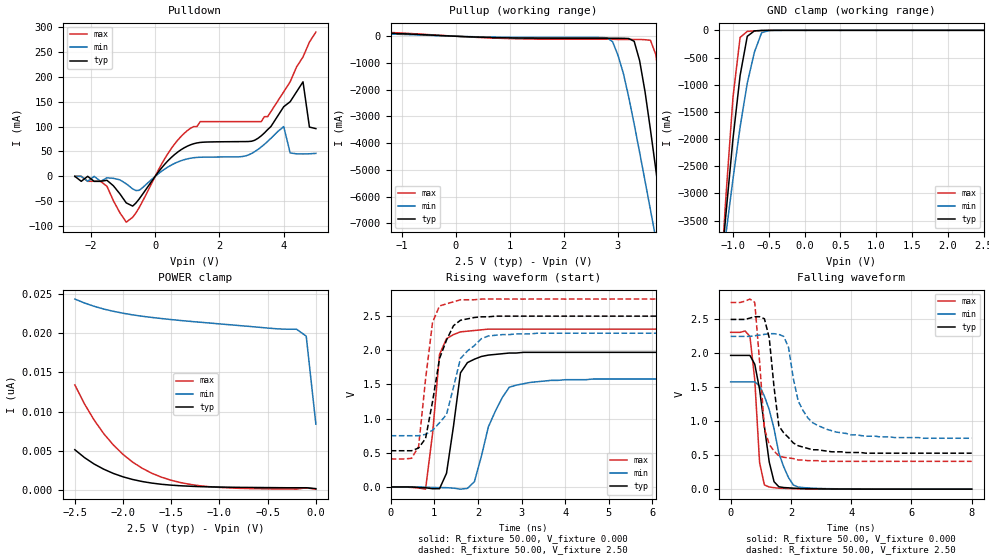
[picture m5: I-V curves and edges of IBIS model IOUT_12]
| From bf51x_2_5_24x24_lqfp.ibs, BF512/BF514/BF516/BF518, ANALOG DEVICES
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|   Model prw0812swcdg_25
[Model]   IOUT_12
Model_type   I/O
Polarity   Non-Inverting
Enable   Active-Low
Vinl =   0.70V
Vinh =   1.70V
Vmeas =   1.20V
Cref =  50.00pF
Rref =   1.00M
Vref =  0.000V
C_comp   4.63pF   4.16pF   5.09pF
[Temperature Range]   25.00   0.12k   -40.00
[Voltage Range]   2.50V   2.25V   2.75V
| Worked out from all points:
|   slope of the pulldown table from 0 to 0.375 V, typ, clamps not added: 12.6 ohm
|   slope of the pullup table from 0 to 0.375 V, typ, clamps not added: 12.7 ohm
|   GND clamp passes 1 mA (typ) near -0.53 V on its own axis
|   rising waveform, R_fixture 50.00, V_fixture 0.000: 20-80 % time 256ps typ, 501ps min, 210ps max; typ from 0 V to 1.97 V
|   rising waveform, R_fixture 50.00, V_fixture 2.50: 20-80 % time 391ps typ, 435ps min, 249ps max; typ from 0.53 V to 2.5 V
|   falling waveform, R_fixture 50.00, V_fixture 0.000: 20-80 % time 369ps typ, 569ps min, 210ps max; typ from 1.97 V to 0 V
|   falling waveform, R_fixture 50.00, V_fixture 2.50: 20-80 % time 302ps typ, 591ps min, 242ps max; typ from 2.5 V to 0.53 V
[Pulldown]
| voltage   I(typ)   I(min)   I(max)
-2.5V     0A         0A         0A
-1.5V     -8mA       -3mA       -20mA
-900mV    -53.4mA    -15mA      -92.2mA
-500mV    -45.67mA   -28.14mA   -63.1mA
900mV     57.24mA    33.39mA    86.24mA
1.4V      68.13mA    38.37mA    110mA
3.3V      81.45mA    59.05mA    110mA
4V        140mA      100mA      170mA
4.2V      150mA      47.04mA    190mA
4.6V      190mA      44.93mA    240mA
4.8V      99.01mA    45.32mA    270mA
5V        95.95mA    46.14mA    290mA
[Pullup]
| voltage   I(typ)   I(min)   I(max)
-2.5V     20.28mA    3.12mA     63.15mA
2.8V      -74.78mA   -59.76mA   -110mA
2.9V      -74.93mA   -200mA     -110mA
3V        -75.48mA   -710mA     -120mA
3.3V      -190mA     -3.29A     -120mA
3.4V      -910mA     -4.34A     -120mA
3.6V      -3.49A     -6.49A     -150mA
3.7V      -4.99A     -7.58A     -690mA
3.8V      -6.53A     -8.67A     -2.24A
4V        -9.65A     -10.87A    -6.38A
4.2V      -12.8A     -13.09A    -10.76A
5V        -25.52A    -21.99A    -28.62A
[GND_clamp]
| voltage   I(typ)   I(min)   I(max)
-2.5V     -25.44A    -19.16A    -34.1A
-1.2V     -4.91A     -4.82A     -5.19A
-1.1V     -3.41A     -3.77A     -3.1A
-1V       -2A        -2.74A     -1.24A
-900mV    -830mA     -1.78A     -130mA
-800mV    -110mA     -970mA     -19.37mA
-700mV    -10.09mA   -400mA     -9.85mA
-600mV    -2.6mA     -44.25mA   -3.52mA
-500mV    -460uA     -4.5mA     -550uA
2.5V      210pA      20.5nA     120pA
[POWER_clamp]
| voltage   I(typ)   I(min)   I(max)
-2.5V     5.16nA     24.33nA    13.41nA
-2.4V     4.16nA     23.83nA    10.99nA
-2.3V     3.34nA     23.41nA    8.94nA
-2.1V     2.14nA     22.77nA    5.76nA
-1.9V     1.37nA     22.32nA    3.58nA
-1.7V     910pA      21.99nA    2.16nA
-1.5V     650pA      21.72nA    1.27nA
-1.2V     460pA      21.38nA    570pA
-800mV    370pA      20.96nA    250pA
-200mV    320pA      20.49nA    150pA
-100mV    320pA      19.61nA    310pA
0V        210pA      8.42nA     140pA
[Ramp]
| variable   typ   min   max
dV/dt_r   1.18/0.27n   0.95/0.49n   1.39/0.18n
dV/dt_f   1.18/0.34n   0.90/0.61n   1.41/0.21n
R_load = 50.00
[Rising Waveform]
R_fixture = 50.00
V_fixture = 0.000
V_fixture_min = 0.000
V_fixture_max = 0.000
L_fixture = 0.000H
C_fixture = 0.000F
| time   V(typ)   V(min)   V(max)
0s        0V         0V         0V
800ps     -11.89mV   -3.81mV    -32.05mV
960ps     -26.13mV   -8.01mV    780mV
1.12ns    -25.26mV   -9.46mV    1.94V
1.28ns    200mV      -10.41mV   2.17V
1.44ns    890mV      -17.4mV    2.23V
1.6ns     1.67V      -32.46mV   2.27V
1.76ns    1.82V      -20.89mV   2.28V
2.72ns    1.96V      1.46V      2.31V
8ns       1.97V      1.58V      2.31V
[Rising Waveform]
R_fixture = 50.00
V_fixture = 2.50
V_fixture_min = 2.25
V_fixture_max = 2.75
L_fixture = 0.000H
C_fixture = 0.000F
| time   V(typ)   V(min)   V(max)
0s        530mV      750mV      410mV
480ps     530mV      750mV      420mV
640ps     570mV      750mV      590mV
800ps     710mV      770mV      1.58V
960ps     1.25V      830mV      2.41V
1.12ns    1.88V      940mV      2.65V
1.28ns    2.15V      1.06V      2.68V
1.6ns     2.44V      1.88V      2.74V
2.24ns    2.49V      2.21V      2.75V
8ns       2.5V       2.25V      2.75V
[Falling Waveform]
R_fixture = 50.00
V_fixture = 0.000
V_fixture_min = 0.000
V_fixture_max = 0.000
L_fixture = 0.000H
C_fixture = 0.000F
| time   V(typ)   V(min)   V(max)
0s        1.97V      1.58V      2.31V
640ps     1.97V      1.58V      2.25V
800ps     1.84V      1.58V      1.61V
960ps     1.47V      1.52V      390mV
1.12ns    920mV      1.37V      62.08mV
1.28ns    400mV      1.17V      32.11mV
1.44ns    110mV      890mV      21.89mV
1.6ns     34.88mV    530mV      14.19mV
2.08ns    14.16mV    61.44mV    7.36mV
8ns       13.11uV    60.2uV     13.29uV
[Falling Waveform]
R_fixture = 50.00
V_fixture = 2.50
V_fixture_min = 2.25
V_fixture_max = 2.75
L_fixture = 0.000H
C_fixture = 0.000F
| time   V(typ)   V(min)   V(max)
0s        2.5V       2.25V      2.75V
800ps     2.54V      2.26V      2.75V
1.12ns    2.51V      2.28V      890mV
1.28ns    2.23V      2.29V      660mV
1.6ns     930mV      2.28V      490mV
1.92ns    760mV      2.09V      460mV
2.24ns    640mV      1.3V       430mV
2.88ns    580mV      940mV      420mV
4.48ns    530mV      780mV      410mV
8ns       530mV      750mV      410mV
